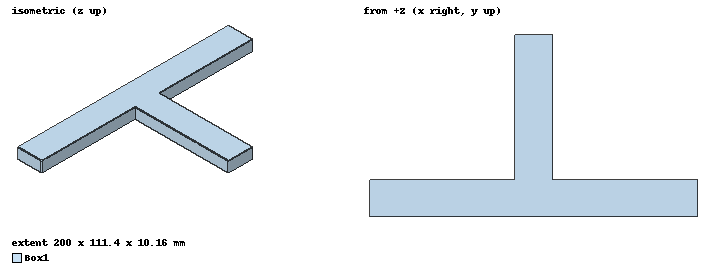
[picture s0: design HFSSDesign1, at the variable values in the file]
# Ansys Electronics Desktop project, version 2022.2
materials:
  vacuum: permittivity=1

design HFSSDesign1 (HFSS, DrivenModal, model units mm)
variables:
  a = 22.86mm
  b = 10.16mm
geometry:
  Box1 [vacuum] = box(corner=(-11.43mm, 0mm, -5.08mm), size=(22.86mm, 100mm, 10.16mm))
  Box1_1 = Box1.duplicate_around_axis(axis=Z, angle=90deg, total=2)
  Box1_2 = Box1.duplicate_around_axis(axis=Z, angle=-90deg, total=2)
  Box1.unite(Box1_1, Box1_2)
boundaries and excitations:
  PerfE1: Perfect E Faces=Box1.face(-z, 6 of 6, 4 of 6, +x, +z, 4 of 6, -x)
  1: Wave Port Faces=Box1.face(+y) NumModes=1 Modes{Mode1{IntLine{(0, 100, -5.08) -> (0, 100, 5.08)} CharImp=Zpi}}
  2: Wave Port Faces=Box1.face(5 of 6) NumModes=1 Modes{Mode1{IntLine{(-100, 0, -5.08) -> (-100, 0, 5.08)} CharImp=Zpi}}
  3: Wave Port Faces=Box1.face(5 of 6) NumModes=1 Modes{Mode1{IntLine{(100, 0, -5.08) -> (100, 0, 5.08)} CharImp=Zpi}}
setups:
  Setup1: HfssDriven MultipleAdaptiveFreqsSetup{Low=5GHz High=15GHz} MaxDeltaS=0.02 MaximumPasses=20 MinimumPasses=1 MinimumConvergedPasses=1 PercentRefinement=30 BasisOrder=1 PortAccuracy=2 DrivenSolverType="Direct Solver"
    sweep Sweep: 5GHz to 15GHz, 401 points; Type=Fast SaveFields
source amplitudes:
  1:1, 2:1: 0W 0deg
  3:1: 1W 0deg
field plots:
  Mag_E1: E Field in Box1 on Setup1 : LastAdaptive at Freq=10GHz Phase=0deg
  Vector_E1: E Field in Box1 on Setup1 : Sweep at Freq=5GHz Phase=0deg
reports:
  S Parameter Plot 1: dB(S(1,3)), dB(S(2,3)), dB(S(3,3)) vs Freq on Setup1 : Sweep
